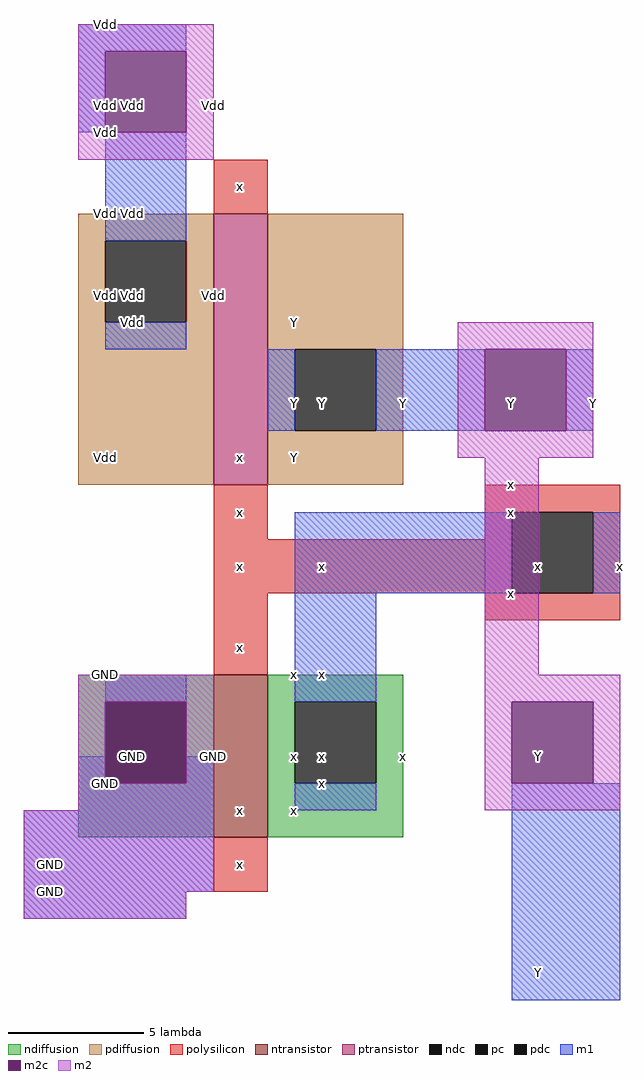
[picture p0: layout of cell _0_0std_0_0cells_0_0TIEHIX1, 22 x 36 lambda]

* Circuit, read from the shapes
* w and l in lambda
.subckt _0_0std_0_0cells_0_0TIEHIX1 Y
M1 x x GND VSUBS nfet w=6 l=2
M2 Y x Vdd NWELL pfet w=10 l=2
.ends

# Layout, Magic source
magic
tech sky130l
<< ndiffusion >>
rect 8 15 13 16
rect 8 12 9 15
rect 12 12 13 15
rect 8 10 13 12
rect 15 15 20 16
rect 15 12 16 15
rect 19 12 20 15
rect 15 10 20 12
<< ndc >>
rect 9 12 12 15
rect 16 12 19 15
<< ntransistor >>
rect 13 10 15 16
<< pdiffusion >>
rect 8 32 13 33
rect 8 29 9 32
rect 12 29 13 32
rect 8 23 13 29
rect 15 28 20 33
rect 15 25 16 28
rect 19 25 20 28
rect 15 23 20 25
<< pdc >>
rect 9 29 12 32
rect 16 25 19 28
<< ptransistor >>
rect 13 23 15 33
<< polysilicon >>
rect 13 33 15 35
rect 13 21 15 23
rect 23 22 28 23
rect 23 21 24 22
rect 13 19 24 21
rect 27 19 28 22
rect 13 16 15 19
rect 23 18 28 19
rect 13 8 15 10
<< pc >>
rect 24 19 27 22
<< m1 >>
rect 8 39 12 40
rect 8 36 9 39
rect 9 32 12 36
rect 9 28 12 29
rect 15 25 16 28
rect 19 25 23 28
rect 26 25 27 28
rect 16 19 24 22
rect 27 19 28 22
rect 9 15 12 16
rect 8 12 9 13
rect 16 15 19 19
rect 12 12 13 13
rect 8 11 13 12
rect 16 11 19 12
rect 6 8 13 11
rect 6 7 12 8
rect 24 4 28 12
<< m2c >>
rect 9 36 12 39
rect 23 25 26 28
rect 9 12 12 15
rect 24 12 27 15
<< m2 >>
rect 8 39 13 40
rect 8 36 9 39
rect 12 36 13 39
rect 8 35 13 36
rect 22 28 27 29
rect 22 25 23 28
rect 26 25 27 28
rect 22 24 27 25
rect 23 16 25 24
rect 8 15 13 16
rect 8 12 9 15
rect 12 12 13 15
rect 8 11 13 12
rect 23 15 28 16
rect 23 12 24 15
rect 27 12 28 15
rect 23 11 28 12
rect 6 8 13 11
rect 6 7 12 8
<< labels >>
rlabel ndiffusion 20 13 20 13 3 x
rlabel polysilicon 24 19 24 19 3 x
rlabel polysilicon 24 22 24 22 3 x
rlabel polysilicon 24 23 24 23 3 x
rlabel ndiffusion 16 11 16 11 3 x
rlabel ndiffusion 16 13 16 13 3 x
rlabel ndiffusion 16 16 16 16 3 x
rlabel pdiffusion 16 24 16 24 3 Y
rlabel pdiffusion 16 29 16 29 3 Y
rlabel pdiffusion 13 30 13 30 3 Vdd
rlabel polysilicon 14 9 14 9 3 x
rlabel ntransistor 14 11 14 11 3 x
rlabel polysilicon 14 17 14 17 3 x
rlabel polysilicon 14 20 14 20 3 x
rlabel polysilicon 14 22 14 22 3 x
rlabel ptransistor 14 24 14 24 3 x
rlabel polysilicon 14 34 14 34 3 x
rlabel pdiffusion 9 24 9 24 3 Vdd
rlabel pdiffusion 9 30 9 30 3 Vdd
rlabel pdiffusion 9 33 9 33 3 Vdd
rlabel m1 27 26 27 26 3 Y
port 1 e
rlabel m2c 25 13 25 13 3 Y
port 1 e
rlabel m1 28 20 28 20 3 x
rlabel m2c 24 26 24 26 3 Y
port 1 e
rlabel pc 25 20 25 20 3 x
rlabel m1 20 26 20 26 3 Y
port 1 e
rlabel ndc 17 13 17 13 3 x
rlabel m1 17 16 17 16 3 x
rlabel m1 17 20 17 20 3 x
rlabel pdc 17 26 17 26 3 Y
port 1 e
rlabel m1 16 26 16 26 3 Y
port 1 e
rlabel m1 25 5 25 5 3 Y
port 1 e
rlabel m1 17 12 17 12 3 x
rlabel m1 10 29 10 29 3 Vdd
rlabel pdc 10 30 10 30 3 Vdd
rlabel m1 10 33 10 33 3 Vdd
rlabel m2 13 13 13 13 3 GND
rlabel m2 13 37 13 37 3 Vdd
rlabel m2c 10 13 10 13 3 GND
rlabel m2c 10 37 10 37 3 Vdd
rlabel m2 9 12 9 12 3 GND
rlabel m2 9 13 9 13 3 GND
rlabel m2 9 16 9 16 3 GND
rlabel m2 9 36 9 36 3 Vdd
rlabel m2 9 37 9 37 3 Vdd
rlabel m2 9 40 9 40 3 Vdd
rlabel m2 7 8 7 8 3 GND
rlabel m2 7 9 7 9 3 GND
<< end >>
